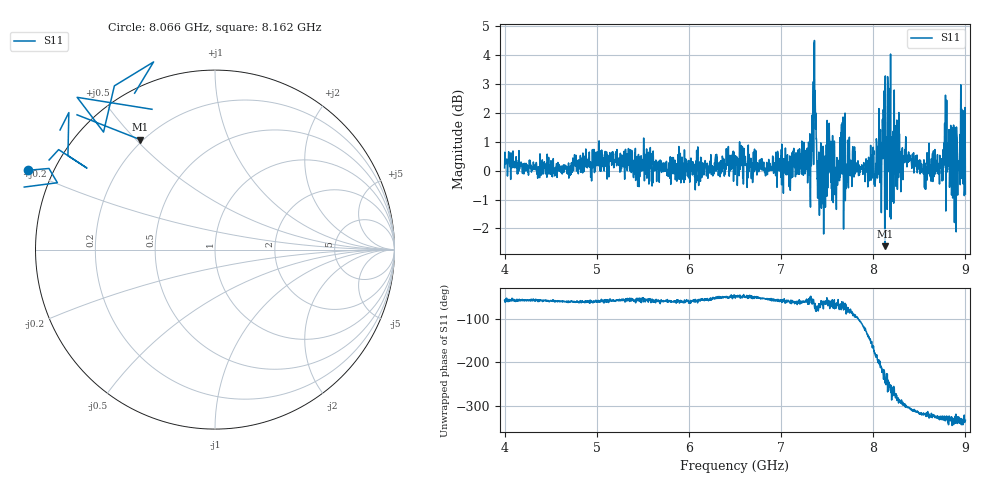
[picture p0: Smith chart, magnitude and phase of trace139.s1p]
! Created with skrf 1.8.0 (http://scikit-rf.org).
# Hz S RI R 50.0
!freq ReS11 ImS11
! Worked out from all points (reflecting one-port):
!   1601 points, 4 GHz to 9 GHz, reference 50 ohm
!   lowest |S11| = -2.6 dB at 8.125 GHz (marker M1), VSWR 6.70, Z = 9.5 + j25.7 ohm
!   phase of S11 starts at -57 deg and turns -276 deg over the sweep
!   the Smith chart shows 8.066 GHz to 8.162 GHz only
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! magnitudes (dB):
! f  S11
! 4 GHz  0.1
! 4.625 GHz  -0.1
! 5.25 GHz  0.0
! 5.875 GHz  -0.1
! 6.5 GHz  0.2
! 7.125 GHz  -0.2
! 7.306 GHz  -0.1
! 7.359 GHz  3.0
! 7.412 GHz  -0.8
! 7.472 GHz  -0.2
! 7.509 GHz  0.5
! 7.609 GHz  0.3
! 7.65 GHz  1.3
! 7.703 GHz  -0.6
! 7.75 GHz  -0.1
! 8.034 GHz  1.1
! 8.125 GHz  -2.6
! 8.153 GHz  1.7
! 8.178 GHz  2.4
! 8.209 GHz  0.7
! 8.375 GHz  0.4
! 8.556 GHz  -0.6
! 8.731 GHz  0.3
! 8.797 GHz  2.4
! 8.875 GHz  0.5
! 8.956 GHz  0.1
! 8.972 GHz  0.8
! 9 GHz  -0.8
